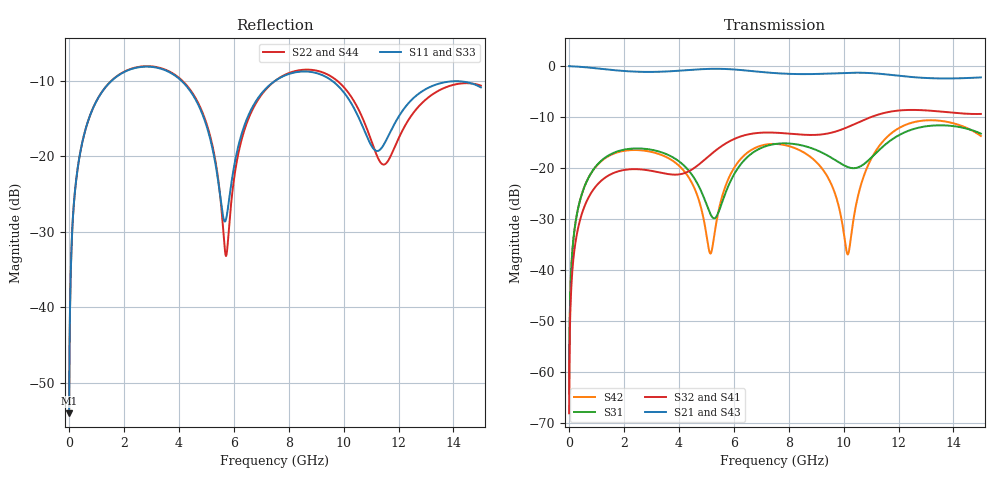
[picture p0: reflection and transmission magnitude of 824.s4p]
! Created with skrf 1.8.0 (http://scikit-rf.org).
# GHz S RI R 50.0
!freq ReS11 ImS11 ReS12 ImS12 ReS13 ImS13
! ReS14 ImS14
! ReS21 ImS21 ReS22 ImS22 ReS23 ImS23
! ReS24 ImS24
! ReS31 ImS31 ReS32 ImS32 ReS33 ImS33
! ReS34 ImS34
! ReS41 ImS41 ReS42 ImS42 ReS43 ImS43
! ReS44 ImS44
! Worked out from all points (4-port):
!   2499 points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, 5 MHz to 15 GHz, reference 50 ohm
!   strongest paths, dB at 5 MHz, 3.476 GHz, 7.19 GHz, 11.1 GHz, 15 GHz:
!     S21: 0.0, -1.1, -1.2, -1.4, -2.2
!     S43: 0.0, -1.1, -1.2, -1.4, -2.2
!     S32: -68.1, -21.0, -13.0, -9.8, -9.4
!     S41: -68.1, -21.1, -13.0, -9.8, -9.5
!     S31: -64.1, -17.1, -15.7, -17.5, -13.2
!     S42: -64.1, -17.7, -15.4, -17.3, -13.7
!   lowest |S11| = -54.1 dB at 5 MHz (marker M1), VSWR 1.00, Z = 50.2 + j0.12 ohm
!   |S11| at or under -10 dB: start of sweep to 1.546 GHz; 4.101 GHz to 7.5 GHz (3.4 GHz wide, 58.6 % of centre); 9.589 GHz to end of sweep
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0.005  0.00158 0.0012  0.9984 -0.00307  7.88e-05 0.000616  -7.65e-05 -0.000388
       0.9984 -0.00307  0.00158 0.0012  -7.65e-05 -0.000388  7.86e-05 0.000616
       7.88e-05 0.000616  -7.65e-05 -0.000388  0.00158 0.0012  0.9984 -0.00307
       -7.65e-05 -0.000388  7.86e-05 0.000616  0.9984 -0.00307  0.00158 0.0012
0.3126303  0.0225 0.0792  0.9693 -0.1914  0.0104 0.0367  -0.00845 -0.0229
           0.9693 -0.1914  0.0226 0.0792  -0.00846 -0.0229  0.00983 0.0368
           0.0104 0.0367  -0.00846 -0.0229  0.0225 0.0792  0.9693 -0.1914
           -0.00845 -0.0229  0.00983 0.0368  0.9693 -0.1914  0.0226 0.0792
1.519383  0.2514 0.1863  0.5876 -0.7067  0.1229 0.0601  -0.086 -0.0125
          0.5876 -0.7067  0.2538 0.1849  -0.0861 -0.0124  0.1151 0.0697
          0.1229 0.0601  -0.0861 -0.0124  0.2514 0.1863  0.5876 -0.7067
          -0.086 -0.0125  0.1151 0.0697  0.5876 -0.7067  0.2539 0.1849
5.527303  0.0387 -0.0335  -0.9279 -0.1505  -0.0269 0.0327  -0.0239 0.1604
          -0.9279 -0.1505  0.0243 -0.0438  -0.0224 0.1606  0.0165 0.0441
          -0.0269 0.0327  -0.0224 0.1606  0.039 -0.0339  -0.9278 -0.1504
          -0.0239 0.1604  0.0165 0.0441  -0.9278 -0.1504  0.0243 -0.0442
8.866194  0.3597 -0.0355  0.0279 0.8352  0.105 -0.115  0.2029 -0.0567
          0.0279 0.8352  0.3717 -0.0411  0.2028 -0.0599  0.1098 -0.0581
          0.105 -0.115  0.2028 -0.0599  0.3618 -0.0361  0.0286 0.834
          0.2029 -0.0567  0.1098 -0.0581  0.0286 0.834  0.3748 -0.0414
10.15423  0.2042 -0.1342  0.5649 0.6477  -0.0679 -0.0767  0.188 -0.1685
          0.5649 0.6477  0.2106 -0.1644  0.1854 -0.1716  -0.0123 -0.00725
          -0.0679 -0.0767  0.1854 -0.1716  0.207 -0.1383  0.564 0.6467
          0.188 -0.1685  -0.0123 -0.00725  0.564 0.6467  0.2153 -0.1665
15  0.2646 -0.1104  -0.0834 -0.7705  0.1618 -0.1458  -0.3183 0.1065
    -0.0834 -0.7705  0.2785 -0.0955  -0.3186 0.1181  0.1781 -0.1047
    0.1618 -0.1458  -0.3186 0.1181  0.2599 -0.1008  -0.0875 -0.7709
    -0.3183 0.1065  0.1781 -0.1047  -0.0875 -0.7709  0.2761 -0.1068
